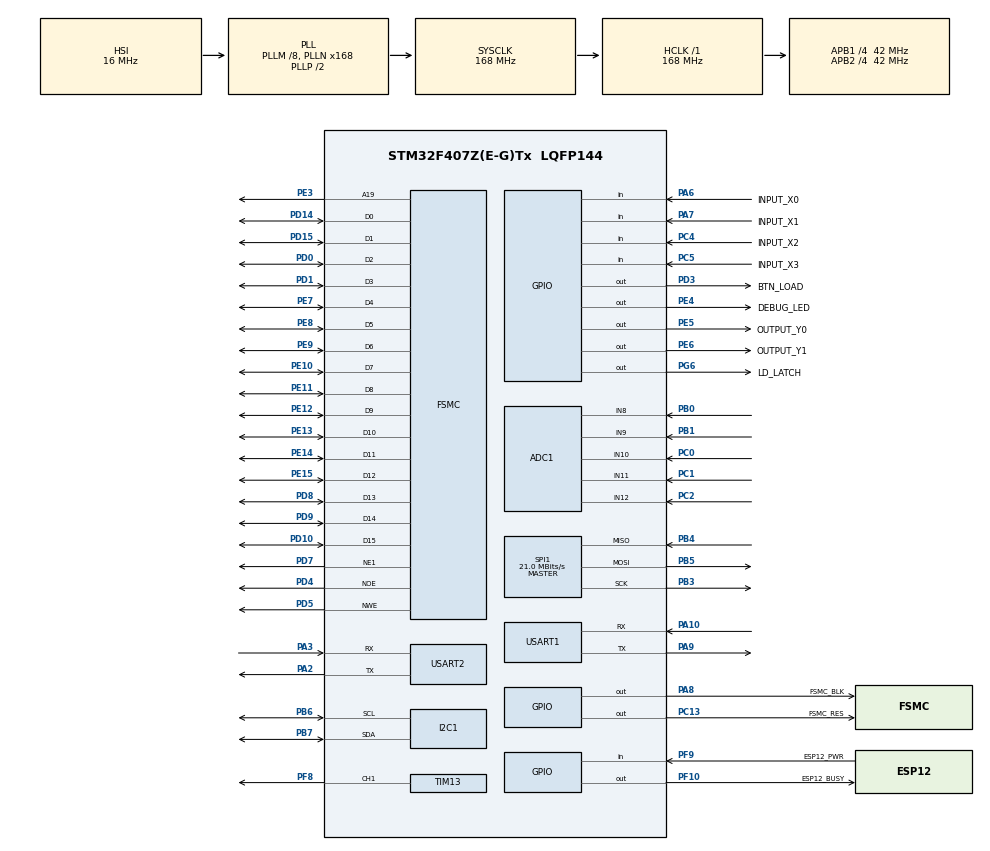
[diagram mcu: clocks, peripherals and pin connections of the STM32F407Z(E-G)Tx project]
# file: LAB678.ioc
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ADC1.Channel-0\#ChannelRegularConversion=ADC_CHANNEL_8
ADC1.Channel-1\#ChannelRegularConversion=ADC_CHANNEL_9
ADC1.Channel-2\#ChannelRegularConversion=ADC_CHANNEL_10
ADC1.Channel-3\#ChannelRegularConversion=ADC_CHANNEL_11
ADC1.Channel-4\#ChannelRegularConversion=ADC_CHANNEL_12
ADC1.NbrOfConversion=5
ADC1.NbrOfConversionFlag=1
ADC1.Rank-0\#ChannelRegularConversion=1
ADC1.Rank-1\#ChannelRegularConversion=2
ADC1.Rank-2\#ChannelRegularConversion=3
ADC1.Rank-3\#ChannelRegularConversion=4
ADC1.Rank-4\#ChannelRegularConversion=5
ADC1.SamplingTime-0\#ChannelRegularConversion=ADC_SAMPLETIME_3CYCLES
ADC1.SamplingTime-1\#ChannelRegularConversion=ADC_SAMPLETIME_3CYCLES
ADC1.SamplingTime-2\#ChannelRegularConversion=ADC_SAMPLETIME_3CYCLES
ADC1.SamplingTime-3\#ChannelRegularConversion=ADC_SAMPLETIME_3CYCLES
ADC1.SamplingTime-4\#ChannelRegularConversion=ADC_SAMPLETIME_3CYCLES
ADC1.ScanConvMode=ENABLE
ADC1.master=1
Dma.ADC1.0.Direction=DMA_PERIPH_TO_MEMORY
Dma.ADC1.0.FIFOMode=DMA_FIFOMODE_DISABLE
Dma.ADC1.0.Instance=DMA2_Stream0
Dma.ADC1.0.MemDataAlignment=DMA_MDATAALIGN_HALFWORD
Dma.ADC1.0.MemInc=DMA_MINC_ENABLE
Dma.ADC1.0.Mode=DMA_CIRCULAR
Dma.ADC1.0.PeriphDataAlignment=DMA_PDATAALIGN_HALFWORD
Dma.ADC1.0.PeriphInc=DMA_PINC_DISABLE
Dma.ADC1.0.Priority=DMA_PRIORITY_LOW
Dma.Request0=ADC1
FSMC.AddressSetupTime1=0xf
FSMC.BusTurnAroundDuration1=0
FSMC.DataSetupTime1=60
FSMC.ExtendedAddressSetupTime1=8
FSMC.ExtendedBusTurnAroundDuration1=0
FSMC.ExtendedDataSetupTime1=9
FSMC.ExtendedMode1=FSMC_EXTENDED_MODE_ENABLE
Mcu.Family=STM32F4
Mcu.Name=STM32F407Z(E-G)Tx
Mcu.Package=LQFP144
NVIC.DMA2_Stream0_IRQn=true\:0\:0\:false\:false\:true\:false\:true
NVIC.PriorityGroup=NVIC_PRIORITYGROUP_4
NVIC.TIM2_IRQn=true\:0\:0\:false\:false\:true\:true\:true
NVIC.USART1_IRQn=true\:0\:0\:false\:false\:true\:true\:true
NVIC.USART2_IRQn=true\:0\:0\:false\:false\:true\:true\:true
PA10.Mode=Asynchronous
PA10.Signal=USART1_RX
PA13.Mode=Serial_Wire
PA13.Signal=SYS_JTMS-SWDIO
PA14.Mode=Serial_Wire
PA14.Signal=SYS_JTCK-SWCLK
PA2.Mode=Asynchronous
PA2.Signal=USART2_TX
PA3.Mode=Asynchronous
PA3.Signal=USART2_RX
PA6.GPIO_Label=INPUT_X0
PA6.Signal=GPIO_Input
PA7.GPIO_Label=INPUT_X1
PA7.Signal=GPIO_Input
PA8.GPIO_Label=FSMC_BLK
PA8.Signal=GPIO_Output
PA9.Mode=Asynchronous
PA9.Signal=USART1_TX
PB0.Signal=ADCx_IN8
PB1.Signal=ADCx_IN9
PB3.Mode=Full_Duplex_Master
PB3.Signal=SPI1_SCK
PB4.Mode=Full_Duplex_Master
PB4.Signal=SPI1_MISO
PB5.Mode=Full_Duplex_Master
PB5.Signal=SPI1_MOSI
PB6.Mode=I2C
PB6.Signal=I2C1_SCL
PB7.Mode=I2C
PB7.Signal=I2C1_SDA
PC0.Signal=ADCx_IN10
PC1.Signal=ADCx_IN11
PC13-ANTI_TAMP.GPIO_Label=FSMC_RES
PC13-ANTI_TAMP.Signal=GPIO_Output
PC2.Signal=ADCx_IN12
PC4.GPIO_Label=INPUT_X2
PC4.Signal=GPIO_Input
PC5.GPIO_Label=INPUT_X3
PC5.Signal=GPIO_Input
PD0.Signal=FSMC_D2_DA2
PD1.Signal=FSMC_D3_DA3
PD10.Signal=FSMC_D15_DA15
PD14.Signal=FSMC_D0_DA0
PD15.Signal=FSMC_D1_DA1
PD3.GPIO_Label=BTN_LOAD
PD3.Signal=GPIO_Output
PD4.Signal=FSMC_NOE
PD5.Signal=FSMC_NWE
PD7.Mode=NorPsramChipSelect1_1
PD7.Signal=FSMC_NE1
PD8.Signal=FSMC_D13_DA13
PD9.Signal=FSMC_D14_DA14
PE10.Signal=FSMC_D7_DA7
PE11.Signal=FSMC_D8_DA8
PE12.Signal=FSMC_D9_DA9
PE13.Signal=FSMC_D10_DA10
PE14.Signal=FSMC_D11_DA11
PE15.Signal=FSMC_D12_DA12
PE3.Signal=FSMC_A19
PE4.GPIO_Label=DEBUG_LED
PE4.Signal=GPIO_Output
PE5.GPIO_Label=OUTPUT_Y0
PE5.Signal=GPIO_Output
PE6.GPIO_Label=OUTPUT_Y1
PE6.Signal=GPIO_Output
PE7.Signal=FSMC_D4_DA4
PE8.Signal=FSMC_D5_DA5
PE9.Signal=FSMC_D6_DA6
PF10.GPIO_Label=ESP12_BUSY
PF10.Signal=GPIO_Output
PF8.Signal=S_TIM13_CH1
PF9.GPIO_Label=ESP12_PWR
PF9.Signal=GPIO_Input
PG6.GPIO_Label=LD_LATCH
PG6.Signal=GPIO_Output
PH0-OSC_IN.Mode=HSE-External-Oscillator
PH0-OSC_IN.Signal=RCC_OSC_IN
PH1-OSC_OUT.Mode=HSE-External-Oscillator
PH1-OSC_OUT.Signal=RCC_OSC_OUT
ProjectManager.HeapSize=0x200
ProjectManager.StackSize=0x400
ProjectManager.TargetToolchain=STM32CubeIDE
RCC.48MHZClocksFreq_Value=84000000
RCC.AHBFreq_Value=168000000
RCC.APB1CLKDivider=RCC_HCLK_DIV4
RCC.APB1Freq_Value=42000000
RCC.APB1TimFreq_Value=84000000
RCC.APB2CLKDivider=RCC_HCLK_DIV4
RCC.APB2Freq_Value=42000000
RCC.APB2TimFreq_Value=84000000
RCC.CortexFreq_Value=168000000
RCC.HCLKFreq_Value=168000000
RCC.HSE_VALUE=8000000
RCC.HSI_VALUE=16000000
RCC.LSE_VALUE=32768
RCC.PLLM=8
RCC.PLLN=168
RCC.SYSCLKFreq_VALUE=168000000
RCC.SYSCLKSource=RCC_SYSCLKSOURCE_PLLCLK
RCC.VCOOutputFreq_Value=336000000
SH.ADCx_IN10.0=ADC1_IN10,IN10
SH.ADCx_IN11.0=ADC1_IN11,IN11
SH.ADCx_IN12.0=ADC1_IN12,IN12
SH.ADCx_IN8.0=ADC1_IN8,IN8
SH.ADCx_IN9.0=ADC1_IN9,IN9
SH.FSMC_A19.0=FSMC_A19,A19_1
SH.FSMC_D0_DA0.0=FSMC_D0,16b-d1
SH.FSMC_D10_DA10.0=FSMC_D10,16b-d1
SH.FSMC_D11_DA11.0=FSMC_D11,16b-d1
SH.FSMC_D12_DA12.0=FSMC_D12,16b-d1
SH.FSMC_D13_DA13.0=FSMC_D13,16b-d1
SH.FSMC_D14_DA14.0=FSMC_D14,16b-d1
SH.FSMC_D15_DA15.0=FSMC_D15,16b-d1
SH.FSMC_D1_DA1.0=FSMC_D1,16b-d1
SH.FSMC_D2_DA2.0=FSMC_D2,16b-d1
SH.FSMC_D3_DA3.0=FSMC_D3,16b-d1
SH.FSMC_D4_DA4.0=FSMC_D4,16b-d1
SH.FSMC_D5_DA5.0=FSMC_D5,16b-d1
SH.FSMC_D6_DA6.0=FSMC_D6,16b-d1
SH.FSMC_D7_DA7.0=FSMC_D7,16b-d1
SH.FSMC_D8_DA8.0=FSMC_D8,16b-d1
SH.FSMC_D9_DA9.0=FSMC_D9,16b-d1
SH.FSMC_NOE.0=FSMC_NOE,Lcd1
SH.FSMC_NWE.0=FSMC_NWE,Lcd1
SH.S_TIM13_CH1.0=TIM13_CH1,PWM Generation1 CH1
SPI1.CalculateBaudRate=21.0 MBits/s
SPI1.Direction=SPI_DIRECTION_2LINES
SPI1.Mode=SPI_MODE_MASTER
SPI1.VirtualType=VM_MASTER
TIM13.Channel=TIM_CHANNEL_1
TIM13.Period=100-1
TIM13.Prescaler=840-1
TIM2.Period=100-1
TIM2.Prescaler=840-1
USART1.VirtualMode=VM_ASYNC
USART2.VirtualMode=VM_ASYNC
VP_TIM13_VS_ClockSourceINT.Mode=Enable_Timer
VP_TIM2_VS_ClockSourceINT.Mode=Internal
board=custom

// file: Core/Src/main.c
/* USER CODE BEGIN Header */
/**
  ******************************************************************************
  * @file           : main.c
  * @brief          : Main program body
  ******************************************************************************
  * @attention
  *
  * <h2><center>&copy; Copyright (c) 2025 STMicroelectronics.
  * All rights reserved.</center></h2>
  *
  * This software component is licensed by ST under BSD 3-Clause license,
  * the "License"; You may not use this file except in compliance with the
  * License. You may obtain a copy of the License at:
  *                        opensource.org/licenses/BSD-3-Clause
  *
  ******************************************************************************
  */
/* USER CODE END Header */
#include "main.h"

/* USER CODE BEGIN Includes */
#include <stdlib.h>
#include "software_timer.h"
#include "led_7seg.h"
#include "button.h"
#include "lcd.h"
#include "picture.h"
#include "ds3231.h"
#include "uart.h"
#include "sensor.h"
#include "buzzer.h"
/* USER CODE END Includes */

/* USER CODE BEGIN PD */
#define INIT				0

#define MODE_DISPLAY_TIME 	2
#define MODE_SET_TIME 		3
#define MODE_SET_ALARM 		4
#define MODE_SET_UART		5

#define PARAM_HOUR 			10
#define PARAM_MIN 			11
#define PARAM_SEC 			12
#define PARAM_DATE 			13
#define PARAM_MONTH 		14
#define PARAM_YEAR 			15
#define PARAM_DAY 			16
/* USER CODE END PD */

ADC_HandleTypeDef hadc1;
DMA_HandleTypeDef hdma_adc1;

I2C_HandleTypeDef hi2c1;

SPI_HandleTypeDef hspi1;

TIM_HandleTypeDef htim2;
TIM_HandleTypeDef htim13;

UART_HandleTypeDef huart1;
UART_HandleTypeDef huart2;

SRAM_HandleTypeDef hsram1;

/* USER CODE BEGIN PV */
uint8_t count_led_debug = 0;

// FSM variables
uint8_t setting_param = PARAM_HOUR;
uint8_t blink_state = 0;
uint8_t blink_counter = 0;

// Temporary time values for setting
uint8_t temp_hour = 0;
uint8_t temp_min = 0;
uint8_t temp_sec = 0;
uint8_t temp_date = 0;
uint8_t temp_month = 0;
uint8_t temp_year = 0;
uint8_t temp_day = 0;

// Alarm values
uint8_t alarm_hour = 0;
uint8_t alarm_min = 0;
uint8_t alarm_sec = 0;
uint8_t alarm_triggered = 0;

// Button press duration tracking
uint16_t button_up_duration = 0;
uint16_t auto_increment_counter = 0;
// Request duration tracking
uint16_t request_duration = 0;
uint16_t request_counter = 0;
uint8_t request_flag = 0;
/* USER CODE END PV */

void SystemClock_Config(void);
static void MX_GPIO_Init(void);
static void MX_SPI1_Init(void);
static void MX_TIM2_Init(void);
static void MX_FSMC_Init(void);
static void MX_I2C1_Init(void);
static void MX_USART1_UART_Init(void);
static void MX_DMA_Init(void);
static void MX_ADC1_Init(void);
static void MX_USART2_UART_Init(void);
static void MX_TIM13_Init(void);
/* USER CODE BEGIN PFP */
void system_init();
void test_LedDebug();
void displayTime();
void updateTime();
void displayModeIndicator();
void displayAlarmTime();
void checkAlarm();
void displayTime();
void fsm_clock();
void test_Uart();
void handle_Uart();
void set_time_Uart();
/* USER CODE END PFP */

int main(void)
{

  /* MCU Configuration--------------------------------------------------------*/

  /* Reset of all peripherals, Initializes the Flash interface and the Systick. */
  HAL_Init();

  /* Configure the system clock */
  SystemClock_Config();

  /* Initialize all configured peripherals */
  MX_GPIO_Init();
  MX_SPI1_Init();
  MX_TIM2_Init();
  MX_FSMC_Init();
  MX_I2C1_Init();
  MX_USART1_UART_Init();
  MX_DMA_Init();
  MX_ADC1_Init();
  MX_USART2_UART_Init();
  MX_TIM13_Init();
  /* USER CODE BEGIN 2 */
  system_init();
  /* USER CODE END 2 */

  /* Infinite loop */
  /* USER CODE BEGIN WHILE */
  lcd_Clear(BLACK);
  updateTime();
  while (1)
  {
	  while(!flag_timer2);
	  flag_timer2 = 0;
	  button_Scan();
	  ds3231_ReadTime();
	  test_Esp();
	  lightProcess();
	  test_LedDebug();
//	  displayTime();
//	  test_Uart();
//	  handle_Uart();
//	  fsm_clock();
	  tempProcess();
    /* USER CODE END WHILE */

  }
}

void SystemClock_Config(void)
{
  RCC_OscInitTypeDef RCC_OscInitStruct = {0};
  RCC_ClkInitTypeDef RCC_ClkInitStruct = {0};

  /** Configure the main internal regulator output voltage
  */
  __HAL_RCC_PWR_CLK_ENABLE();
  __HAL_PWR_VOLTAGESCALING_CONFIG(PWR_REGULATOR_VOLTAGE_SCALE1);
  /** Initializes the RCC Oscillators according to the specified parameters
  * in the RCC_OscInitTypeDef structure.
  */
  RCC_OscInitStruct.OscillatorType = RCC_OSCILLATORTYPE_HSI;
  RCC_OscInitStruct.HSIState = RCC_HSI_ON;
  RCC_OscInitStruct.HSICalibrationValue = RCC_HSICALIBRATION_DEFAULT;
  RCC_OscInitStruct.PLL.PLLState = RCC_PLL_ON;
  RCC_OscInitStruct.PLL.PLLSource = RCC_PLLSOURCE_HSI;
  RCC_OscInitStruct.PLL.PLLM = 8;
  RCC_OscInitStruct.PLL.PLLN = 168;
  RCC_OscInitStruct.PLL.PLLP = RCC_PLLP_DIV2;
  RCC_OscInitStruct.PLL.PLLQ = 4;
  if (HAL_RCC_OscConfig(&RCC_OscInitStruct) != HAL_OK)
  {
    Error_Handler();
  }
  /** Initializes the CPU, AHB and APB buses clocks
  */
  RCC_ClkInitStruct.ClockType = RCC_CLOCKTYPE_HCLK|RCC_CLOCKTYPE_SYSCLK
                              |RCC_CLOCKTYPE_PCLK1|RCC_CLOCKTYPE_PCLK2;
  RCC_ClkInitStruct.SYSCLKSource = RCC_SYSCLKSOURCE_PLLCLK;
  RCC_ClkInitStruct.AHBCLKDivider = RCC_SYSCLK_DIV1;
  RCC_ClkInitStruct.APB1CLKDivider = RCC_HCLK_DIV4;
  RCC_ClkInitStruct.APB2CLKDivider = RCC_HCLK_DIV4;

  if (HAL_RCC_ClockConfig(&RCC_ClkInitStruct, FLASH_LATENCY_5) != HAL_OK)
  {
    Error_Handler();
  }
}

static void MX_ADC1_Init(void)
{

  ADC_ChannelConfTypeDef sConfig = {0};

  /** Configure the global features of the ADC (Clock, Resolution, Data Alignment and number of conversion)
  */
  hadc1.Instance = ADC1;
  hadc1.Init.ClockPrescaler = ADC_CLOCK_SYNC_PCLK_DIV2;
  hadc1.Init.Resolution = ADC_RESOLUTION_12B;
  hadc1.Init.ScanConvMode = ENABLE;
  hadc1.Init.ContinuousConvMode = DISABLE;
  hadc1.Init.DiscontinuousConvMode = DISABLE;
  hadc1.Init.ExternalTrigConvEdge = ADC_EXTERNALTRIGCONVEDGE_NONE;
  hadc1.Init.ExternalTrigConv = ADC_SOFTWARE_START;
  hadc1.Init.DataAlign = ADC_DATAALIGN_RIGHT;
  hadc1.Init.NbrOfConversion = 5;
  hadc1.Init.DMAContinuousRequests = DISABLE;
  hadc1.Init.EOCSelection = ADC_EOC_SINGLE_CONV;
  if (HAL_ADC_Init(&hadc1) != HAL_OK)
  {
    Error_Handler();
  }
  /** Configure for the selected ADC regular channel its corresponding rank in the sequencer and its sample time.
  */
  sConfig.Channel = ADC_CHANNEL_8;
  sConfig.Rank = 1;
  sConfig.SamplingTime = ADC_SAMPLETIME_3CYCLES;
  if (HAL_ADC_ConfigChannel(&hadc1, &sConfig) != HAL_OK)
  {
    Error_Handler();
  }
  /** Configure for the selected ADC regular channel its corresponding rank in the sequencer and its sample time.
  */
  sConfig.Channel = ADC_CHANNEL_9;
  sConfig.Rank = 2;
  if (HAL_ADC_ConfigChannel(&hadc1, &sConfig) != HAL_OK)
  {
    Error_Handler();
  }
  /** Configure for the selected ADC regular channel its corresponding rank in the sequencer and its sample time.
  */
  sConfig.Channel = ADC_CHANNEL_10;
  sConfig.Rank = 3;
  if (HAL_ADC_ConfigChannel(&hadc1, &sConfig) != HAL_OK)
  {
    Error_Handler();
  }
  /** Configure for the selected ADC regular channel its corresponding rank in the sequencer and its sample time.
  */
  sConfig.Channel = ADC_CHANNEL_11;
  sConfig.Rank = 4;
  if (HAL_ADC_ConfigChannel(&hadc1, &sConfig) != HAL_OK)
  {
    Error_Handler();
  }
  /** Configure for the selected ADC regular channel its corresponding rank in the sequencer and its sample time.
  */
  sConfig.Channel = ADC_CHANNEL_12;
  sConfig.Rank = 5;
  if (HAL_ADC_ConfigChannel(&hadc1, &sConfig) != HAL_OK)
  {
    Error_Handler();
  }

}

static void MX_I2C1_Init(void)
{

  hi2c1.Instance = I2C1;
  hi2c1.Init.ClockSpeed = 100000;
  hi2c1.Init.DutyCycle = I2C_DUTYCYCLE_2;
  hi2c1.Init.OwnAddress1 = 0;
  hi2c1.Init.AddressingMode = I2C_ADDRESSINGMODE_7BIT;
  hi2c1.Init.DualAddressMode = I2C_DUALADDRESS_DISABLE;
  hi2c1.Init.OwnAddress2 = 0;
  hi2c1.Init.GeneralCallMode = I2C_GENERALCALL_DISABLE;
  hi2c1.Init.NoStretchMode = I2C_NOSTRETCH_DISABLE;
  if (HAL_I2C_Init(&hi2c1) != HAL_OK)
  {
    Error_Handler();
  }

}

static void MX_SPI1_Init(void)
{

  /* SPI1 parameter configuration*/
  hspi1.Instance = SPI1;
  hspi1.Init.Mode = SPI_MODE_MASTER;
  hspi1.Init.Direction = SPI_DIRECTION_2LINES;
  hspi1.Init.DataSize = SPI_DATASIZE_8BIT;
  hspi1.Init.CLKPolarity = SPI_POLARITY_LOW;
  hspi1.Init.CLKPhase = SPI_PHASE_1EDGE;
  hspi1.Init.NSS = SPI_NSS_SOFT;
  hspi1.Init.BaudRatePrescaler = SPI_BAUDRATEPRESCALER_2;
  hspi1.Init.FirstBit = SPI_FIRSTBIT_MSB;
  hspi1.Init.TIMode = SPI_TIMODE_DISABLE;
  hspi1.Init.CRCCalculation = SPI_CRCCALCULATION_DISABLE;
  hspi1.Init.CRCPolynomial = 10;
  if (HAL_SPI_Init(&hspi1) != HAL_OK)
  {
    Error_Handler();
  }

}

static void MX_TIM2_Init(void)
{

  TIM_ClockConfigTypeDef sClockSourceConfig = {0};
  TIM_MasterConfigTypeDef sMasterConfig = {0};

  htim2.Instance = TIM2;
  htim2.Init.Prescaler = 840-1;
  htim2.Init.CounterMode = TIM_COUNTERMODE_UP;
  htim2.Init.Period = 100-1;
  htim2.Init.ClockDivision = TIM_CLOCKDIVISION_DIV1;
  htim2.Init.AutoReloadPreload = TIM_AUTORELOAD_PRELOAD_DISABLE;
  if (HAL_TIM_Base_Init(&htim2) != HAL_OK)
  {
    Error_Handler();
  }
  sClockSourceConfig.ClockSource = TIM_CLOCKSOURCE_INTERNAL;
  if (HAL_TIM_ConfigClockSource(&htim2, &sClockSourceConfig) != HAL_OK)
  {
    Error_Handler();
  }
  sMasterConfig.MasterOutputTrigger = TIM_TRGO_RESET;
  sMasterConfig.MasterSlaveMode = TIM_MASTERSLAVEMODE_DISABLE;
  if (HAL_TIMEx_MasterConfigSynchronization(&htim2, &sMasterConfig) != HAL_OK)
  {
    Error_Handler();
  }

}

static void MX_TIM13_Init(void)
{

  TIM_OC_InitTypeDef sConfigOC = {0};

  htim13.Instance = TIM13;
  htim13.Init.Prescaler = 840-1;
  htim13.Init.CounterMode = TIM_COUNTERMODE_UP;
  htim13.Init.Period = 100-1;
  htim13.Init.ClockDivision = TIM_CLOCKDIVISION_DIV1;
  htim13.Init.AutoReloadPreload = TIM_AUTORELOAD_PRELOAD_DISABLE;
  if (HAL_TIM_Base_Init(&htim13) != HAL_OK)
  {
    Error_Handler();
  }
  if (HAL_TIM_PWM_Init(&htim13) != HAL_OK)
  {
    Error_Handler();
  }
  sConfigOC.OCMode = TIM_OCMODE_PWM1;
  sConfigOC.Pulse = 0;
  sConfigOC.OCPolarity = TIM_OCPOLARITY_HIGH;
  sConfigOC.OCFastMode = TIM_OCFAST_DISABLE;
  if (HAL_TIM_PWM_ConfigChannel(&htim13, &sConfigOC, TIM_CHANNEL_1) != HAL_OK)
  {
    Error_Handler();
  }
  HAL_TIM_MspPostInit(&htim13);

}

static void MX_USART1_UART_Init(void)
{

  huart1.Instance = USART1;
  huart1.Init.BaudRate = 115200;
  huart1.Init.WordLength = UART_WORDLENGTH_8B;
  huart1.Init.StopBits = UART_STOPBITS_1;
  huart1.Init.Parity = UART_PARITY_NONE;
  huart1.Init.Mode = UART_MODE_TX_RX;
  huart1.Init.HwFlowCtl = UART_HWCONTROL_NONE;
  huart1.Init.OverSampling = UART_OVERSAMPLING_16;
  if (HAL_UART_Init(&huart1) != HAL_OK)
  {
    Error_Handler();
  }

}

static void MX_USART2_UART_Init(void)
{

  huart2.Instance = USART2;
  huart2.Init.BaudRate = 115200;
  huart2.Init.WordLength = UART_WORDLENGTH_8B;
  huart2.Init.StopBits = UART_STOPBITS_1;
  huart2.Init.Parity = UART_PARITY_NONE;
  huart2.Init.Mode = UART_MODE_TX_RX;
  huart2.Init.HwFlowCtl = UART_HWCONTROL_NONE;
  huart2.Init.OverSampling = UART_OVERSAMPLING_16;
  if (HAL_UART_Init(&huart2) != HAL_OK)
  {
    Error_Handler();
  }

}

static void MX_DMA_Init(void)
{

  /* DMA controller clock enable */
  __HAL_RCC_DMA2_CLK_ENABLE();

  /* DMA interrupt init */
  /* DMA2_Stream0_IRQn interrupt configuration */
  HAL_NVIC_SetPriority(DMA2_Stream0_IRQn, 0, 0);
  HAL_NVIC_EnableIRQ(DMA2_Stream0_IRQn);

}

static void MX_GPIO_Init(void)
{
  GPIO_InitTypeDef GPIO_InitStruct = {0};

  /* GPIO Ports Clock Enable */
  __HAL_RCC_GPIOE_CLK_ENABLE();
  __HAL_RCC_GPIOC_CLK_ENABLE();
  __HAL_RCC_GPIOF_CLK_ENABLE();
  __HAL_RCC_GPIOH_CLK_ENABLE();
  __HAL_RCC_GPIOA_CLK_ENABLE();
  __HAL_RCC_GPIOB_CLK_ENABLE();
  __HAL_RCC_GPIOD_CLK_ENABLE();
  __HAL_RCC_GPIOG_CLK_ENABLE();

  /*Configure GPIO pin Output Level */
  HAL_GPIO_WritePin(GPIOE, DEBUG_LED_Pin|OUTPUT_Y0_Pin|OUTPUT_Y1_Pin, GPIO_PIN_RESET);

  /*Configure GPIO pin Output Level */
  HAL_GPIO_WritePin(FSMC_RES_GPIO_Port, FSMC_RES_Pin, GPIO_PIN_RESET);

  /*Configure GPIO pin Output Level */
  HAL_GPIO_WritePin(ESP12_BUSY_GPIO_Port, ESP12_BUSY_Pin, GPIO_PIN_RESET);

  /*Configure GPIO pin Output Level */
  HAL_GPIO_WritePin(LD_LATCH_GPIO_Port, LD_LATCH_Pin, GPIO_PIN_RESET);

  /*Configure GPIO pin Output Level */
  HAL_GPIO_WritePin(FSMC_BLK_GPIO_Port, FSMC_BLK_Pin, GPIO_PIN_RESET);

  /*Configure GPIO pin Output Level */
  HAL_GPIO_WritePin(BTN_LOAD_GPIO_Port, BTN_LOAD_Pin, GPIO_PIN_RESET);

  /*Configure GPIO pins : DEBUG_LED_Pin OUTPUT_Y0_Pin OUTPUT_Y1_Pin */
  GPIO_InitStruct.Pin = DEBUG_LED_Pin|OUTPUT_Y0_Pin|OUTPUT_Y1_Pin;
  GPIO_InitStruct.Mode = GPIO_MODE_OUTPUT_PP;
  GPIO_InitStruct.Pull = GPIO_NOPULL;
  GPIO_InitStruct.Speed = GPIO_SPEED_FREQ_LOW;
  HAL_GPIO_Init(GPIOE, &GPIO_InitStruct);

  /*Configure GPIO pin : FSMC_RES_Pin */
  GPIO_InitStruct.Pin = FSMC_RES_Pin;
  GPIO_InitStruct.Mode = GPIO_MODE_OUTPUT_PP;
  GPIO_InitStruct.Pull = GPIO_NOPULL;
  GPIO_InitStruct.Speed = GPIO_SPEED_FREQ_LOW;
  HAL_GPIO_Init(FSMC_RES_GPIO_Port, &GPIO_InitStruct);

  /*Configure GPIO pin : ESP12_PWR_Pin */
  GPIO_InitStruct.Pin = ESP12_PWR_Pin;
  GPIO_InitStruct.Mode = GPIO_MODE_INPUT;
  GPIO_InitStruct.Pull = GPIO_NOPULL;
  HAL_GPIO_Init(ESP12_PWR_GPIO_Port, &GPIO_InitStruct);

  /*Configure GPIO pin : ESP12_BUSY_Pin */
  GPIO_InitStruct.Pin = ESP12_BUSY_Pin;
  GPIO_InitStruct.Mode = GPIO_MODE_OUTPUT_PP;
  GPIO_InitStruct.Pull = GPIO_NOPULL;
  GPIO_InitStruct.Speed = GPIO_SPEED_FREQ_LOW;
  HAL_GPIO_Init(ESP12_BUSY_GPIO_Port, &GPIO_InitStruct);

  /*Configure GPIO pins : INPUT_X0_Pin INPUT_X1_Pin */
  GPIO_InitStruct.Pin = INPUT_X0_Pin|INPUT_X1_Pin;
  GPIO_InitStruct.Mode = GPIO_MODE_INPUT;
  GPIO_InitStruct.Pull = GPIO_NOPULL;
  HAL_GPIO_Init(GPIOA, &GPIO_InitStruct);

  /*Configure GPIO pins : INPUT_X2_Pin INPUT_X3_Pin */
  GPIO_InitStruct.Pin = INPUT_X2_Pin|INPUT_X3_Pin;
  GPIO_InitStruct.Mode = GPIO_MODE_INPUT;
  GPIO_InitStruct.Pull = GPIO_NOPULL;
  HAL_GPIO_Init(GPIOC, &GPIO_InitStruct);

  /*Configure GPIO pin : LD_LATCH_Pin */
  GPIO_InitStruct.Pin = LD_LATCH_Pin;
  GPIO_InitStruct.Mode = GPIO_MODE_OUTPUT_PP;
  GPIO_InitStruct.Pull = GPIO_NOPULL;
  GPIO_InitStruct.Speed = GPIO_SPEED_FREQ_LOW;
  HAL_GPIO_Init(LD_LATCH_GPIO_Port, &GPIO_InitStruct);

  /*Configure GPIO pin : FSMC_BLK_Pin */
  GPIO_InitStruct.Pin = FSMC_BLK_Pin;
  GPIO_InitStruct.Mode = GPIO_MODE_OUTPUT_PP;
  GPIO_InitStruct.Pull = GPIO_NOPULL;
  GPIO_InitStruct.Speed = GPIO_SPEED_FREQ_LOW;
  HAL_GPIO_Init(FSMC_BLK_GPIO_Port, &GPIO_InitStruct);

  /*Configure GPIO pin : BTN_LOAD_Pin */
  GPIO_InitStruct.Pin = BTN_LOAD_Pin;
  GPIO_InitStruct.Mode = GPIO_MODE_OUTPUT_PP;
  GPIO_InitStruct.Pull = GPIO_NOPULL;
  GPIO_InitStruct.Speed = GPIO_SPEED_FREQ_LOW;
  HAL_GPIO_Init(BTN_LOAD_GPIO_Port, &GPIO_InitStruct);

}

/* FSMC initialization function */
static void MX_FSMC_Init(void)
{

  FSMC_NORSRAM_TimingTypeDef Timing = {0};
  FSMC_NORSRAM_TimingTypeDef ExtTiming = {0};

  /** Perform the SRAM1 memory initialization sequence
  */
  hsram1.Instance = FSMC_NORSRAM_DEVICE;
  hsram1.Extended = FSMC_NORSRAM_EXTENDED_DEVICE;
  /* hsram1.Init */
  hsram1.Init.NSBank = FSMC_NORSRAM_BANK1;
  hsram1.Init.DataAddressMux = FSMC_DATA_ADDRESS_MUX_DISABLE;
  hsram1.Init.MemoryType = FSMC_MEMORY_TYPE_SRAM;
  hsram1.Init.MemoryDataWidth = FSMC_NORSRAM_MEM_BUS_WIDTH_16;
  hsram1.Init.BurstAccessMode = FSMC_BURST_ACCESS_MODE_DISABLE;
  hsram1.Init.WaitSignalPolarity = FSMC_WAIT_SIGNAL_POLARITY_LOW;
  hsram1.Init.WrapMode = FSMC_WRAP_MODE_DISABLE;
  hsram1.Init.WaitSignalActive = FSMC_WAIT_TIMING_BEFORE_WS;
  hsram1.Init.WriteOperation = FSMC_WRITE_OPERATION_ENABLE;
  hsram1.Init.WaitSignal = FSMC_WAIT_SIGNAL_DISABLE;
  hsram1.Init.ExtendedMode = FSMC_EXTENDED_MODE_ENABLE;
  hsram1.Init.AsynchronousWait = FSMC_ASYNCHRONOUS_WAIT_DISABLE;
  hsram1.Init.WriteBurst = FSMC_WRITE_BURST_DISABLE;
  hsram1.Init.PageSize = FSMC_PAGE_SIZE_NONE;
  /* Timing */
  Timing.AddressSetupTime = 0xf;
  Timing.AddressHoldTime = 15;
  Timing.DataSetupTime = 60;
  Timing.BusTurnAroundDuration = 0;
  Timing.CLKDivision = 16;
  Timing.DataLatency = 17;
  Timing.AccessMode = FSMC_ACCESS_MODE_A;
  /* ExtTiming */
  ExtTiming.AddressSetupTime = 8;
  ExtTiming.AddressHoldTime = 15;
  ExtTiming.DataSetupTime = 9;
  ExtTiming.BusTurnAroundDuration = 0;
  ExtTiming.CLKDivision = 16;
  ExtTiming.DataLatency = 17;
  ExtTiming.AccessMode = FSMC_ACCESS_MODE_A;

  if (HAL_SRAM_Init(&hsram1, &Timing, &ExtTiming) != HAL_OK)
  {
    Error_Handler( );
  }

}

/* USER CODE BEGIN 4 */
void system_init(){
	  HAL_GPIO_WritePin(OUTPUT_Y0_GPIO_Port, OUTPUT_Y0_Pin, 0);
	  HAL_GPIO_WritePin(OUTPUT_Y1_GPIO_Port, OUTPUT_Y1_Pin, 0);
	  HAL_GPIO_WritePin(DEBUG_LED_GPIO_Port, DEBUG_LED_Pin, 0);
	  timer_init();
	  led7_init();
	  button_init();
	  lcd_init();
	  ds3231_init();
	  uart_init_rs232();
	  uart_init_esp();
	  setTimer2(50);
}

void test_LedDebug(){
	count_led_debug = (count_led_debug + 1)%20;
	if(count_led_debug == 0){
		HAL_GPIO_TogglePin(DEBUG_LED_GPIO_Port, DEBUG_LED_Pin);
	}
}

void test_7seg(){
	led7_SetDigit(0, 0, 0);
	led7_SetDigit(5, 1, 0);
	led7_SetDigit(4, 2, 0);
	led7_SetDigit(7, 3, 0);
}
void test_button(){
	for(int i = 0; i < 16; i++){
		if(button_count[i] == 1){
			led7_SetDigit(i/10, 2, 0);
			led7_SetDigit(i%10, 3, 0);
		}
	}
}

void updateTime(){
	ds3231_Write(ADDRESS_YEAR, 25);
	ds3231_Write(ADDRESS_MONTH, 11);
	ds3231_Write(ADDRESS_DATE, 03);
	ds3231_Write(ADDRESS_DAY, 2);
	ds3231_Write(ADDRESS_HOUR, 17);
	ds3231_Write(ADDRESS_MIN, 45);
	ds3231_Write(ADDRESS_SEC, 30);
}

uint8_t isButtonUp()
{
    if (button_count[3] == 1)
        return 1;
    else
        return 0;
}
uint8_t isButtonDown()
{
    if (button_count[7] == 1)
        return 1;
    else
        return 0;
}

uint8_t state = INIT;
char *mode_str = "";
void displayModeIndicator() {
    lcd_Fill(0, 0, 240, 20, BLACK);
    switch(state) {
        case MODE_DISPLAY_TIME:
            lcd_ShowStr(10, 5, "MODE: DISPLAY TIME", WHITE, BLACK, 16, 0);
            break;
        case MODE_SET_TIME:
            lcd_ShowStr(10, 5, "MODE: SET TIME", CYAN, BLACK, 16, 0);
            break;
        case MODE_SET_ALARM:
            lcd_ShowStr(10, 5, "MODE: SET ALARM", MAGENTA, BLACK, 16, 0);
            break;
        case MODE_SET_UART:
            lcd_ShowStr(10, 5, mode_str, MAGENTA, BLACK, 16, 0);
            break;
    }
}

void checkAlarm() {
    if(alarm_hour == ds3231_hours && alarm_min == ds3231_min && alarm_sec == ds3231_sec)
        if(!alarm_triggered)
            alarm_triggered = 1;

    if(alarm_triggered) {
        lcd_Fill(0, 180, 240, 220, RED);
        lcd_ShowStr(40, 190, "*** ALARM ***", WHITE, RED, 24, 0);

        for(int i = 0; i < 16; i++) {
            if(button_count[i] == 1) {
                alarm_triggered = 0;
                lcd_Fill(0, 180, 240, 220, BLACK);
                break;
            }
        }
    }
}

void displayAlarmTime() {
    lcd_ShowStr(10, 260, "ALARM:", YELLOW, BLACK, 16, 0);
    lcd_ShowIntNum(70, 260, alarm_hour, 2, YELLOW, BLACK, 16);
    lcd_ShowIntNum(100, 260, alarm_min, 2, YELLOW, BLACK, 16);
    lcd_ShowIntNum(130, 260, alarm_sec, 2, YELLOW, BLACK, 16);
}

void displayTime(){
	blink_counter++;
	if(blink_counter >= 10) {
		blink_counter = 0;
		blink_state = !blink_state;
	}

	uint16_t hour_color = GREEN, min_color = GREEN, sec_color = GREEN;
	uint16_t date_color = YELLOW, month_color = YELLOW, year_color = YELLOW, day_color = YELLOW;

	if((state == MODE_SET_TIME || state == MODE_SET_ALARM || state == MODE_SET_UART) && blink_state) {
		switch(setting_param) {
			case PARAM_HOUR: hour_color = BLACK; break;
			case PARAM_MIN: min_color = BLACK; break;
			case PARAM_SEC: sec_color = BLACK; break;
			case PARAM_DATE: date_color = BLACK; break;
			case PARAM_MONTH: month_color = BLACK; break;
			case PARAM_YEAR: year_color = BLACK; break;
			case PARAM_DAY: day_color = BLACK; break;
		}
	}

	// Display based on mode
	if(state == MODE_SET_TIME || state == MODE_SET_UART) {
		lcd_ShowIntNum(70, 100, temp_hour, 2, hour_color, BLACK, 24);
		lcd_ShowIntNum(110, 100, temp_min, 2, min_color, BLACK, 24);
		lcd_ShowIntNum(150, 100, temp_sec, 2, sec_color, BLACK, 24);

		lcd_ShowIntNum(20, 130, temp_day, 2, day_color, BLACK, 24);
		lcd_ShowIntNum(70, 130, temp_date, 2, date_color, BLACK, 24);
		lcd_ShowIntNum(110, 130, temp_month, 2, month_color, BLACK, 24);
		lcd_ShowIntNum(150, 130, temp_year, 2, year_color, BLACK, 24);
	} else if(state == MODE_SET_ALARM) {
		lcd_ShowStr(10, 100, "SET ALARM:", MAGENTA, BLACK, 24, 0);
		lcd_ShowIntNum(70, 130, alarm_hour, 2, hour_color, BLACK, 24);
		lcd_ShowIntNum(110, 130, alarm_min, 2, min_color, BLACK, 24);
		lcd_ShowIntNum(150, 130, alarm_sec, 2, sec_color, BLACK, 24);
	} else {
		lcd_ShowIntNum(70, 100, ds3231_hours, 2, hour_color, BLACK, 24);
		lcd_ShowIntNum(110, 100, ds3231_min, 2, min_color, BLACK, 24);
		lcd_ShowIntNum(150, 100, ds3231_sec, 2, sec_color, BLACK, 24);

		lcd_ShowIntNum(20, 130, ds3231_day, 2, day_color, BLACK, 24);
		lcd_ShowIntNum(70, 130, ds3231_date, 2, date_color, BLACK, 24);
		lcd_ShowIntNum(110, 130, ds3231_month, 2, month_color, BLACK, 24);
		lcd_ShowIntNum(150, 130, ds3231_year, 2, year_color, BLACK, 24);

		displayAlarmTime();
		checkAlarm();
	}
}

//void incrementParameter() {
//	switch(setting_param) {
//		case PARAM_HOUR:
//			if(state == MODE_SET_TIME) temp_hour = (temp_hour + 1) % 24;
//			else alarm_hour = (alarm_hour + 1) % 24;
//			break;
//		case PARAM_MIN:
//			if(state == MODE_SET_TIME) temp_min = (temp_min + 1) % 60;
//			else alarm_min = (alarm_min + 1) % 60;
//			break;
//		case PARAM_SEC:
//			if(state == MODE_SET_TIME) temp_sec = (temp_sec + 1) % 60;
//			else alarm_sec = (alarm_sec + 1) % 60;
//			break;
//		case PARAM_DATE:
//			temp_date = (temp_date % 31) + 1;
//			break;
//		case PARAM_MONTH:
//			temp_month = (temp_month % 12) + 1;
//			break;
//		case PARAM_YEAR:
//			temp_year = (temp_year + 1) % 100;
//			break;
//		case PARAM_DAY:
//			temp_day = (temp_day % 7) + 1;
//			break;
//	}
//}

void handleIncrementButton() {
	if(button_count[3] >= 1) {
		button_up_duration++;
		if(button_count[3] == 1) {	// Single press - increment once
			switch(setting_param) {
				case PARAM_HOUR:
					if(state == MODE_SET_TIME) temp_hour = (temp_hour + 1) % 24;
					else alarm_hour = (alarm_hour + 1) % 24;
					break;
				case PARAM_MIN:
					if(state == MODE_SET_TIME) temp_min = (temp_min + 1) % 60;
					else alarm_min = (alarm_min + 1) % 60;
					break;
				case PARAM_SEC:
					if(state == MODE_SET_TIME) temp_sec = (temp_sec + 1) % 60;
					else alarm_sec = (alarm_sec + 1) % 60;
					break;
				case PARAM_DATE:
					temp_date = (temp_date % 31) + 1;
					break;
				case PARAM_MONTH:
					temp_month = (temp_month % 12) + 1;
					break;
				case PARAM_YEAR:
					temp_year = (temp_year + 1) % 100;
					break;
				case PARAM_DAY:
					temp_day = (temp_day % 7) + 1;
					break;
			}
		}
		else if(button_up_duration >= 40) { // Held for 2 seconds (40 cycles * 50ms)
			auto_increment_counter++;
			if(auto_increment_counter >= 4) { // Auto increment every 200ms (4 cycles)
				auto_increment_counter = 0;
				switch(setting_param) {
					case PARAM_HOUR:
						if(state == MODE_SET_TIME) temp_hour = (temp_hour + 1) % 24;
						else alarm_hour = (alarm_hour + 1) % 24;
						break;
					case PARAM_MIN:
						if(state == MODE_SET_TIME) temp_min = (temp_min + 1) % 60;
						else alarm_min = (alarm_min + 1) % 60;
						break;
					case PARAM_SEC:
						if(state == MODE_SET_TIME) temp_sec = (temp_sec + 1) % 60;
						else alarm_sec = (alarm_sec + 1) % 60;
						break;
					case PARAM_DATE:
						temp_date = (temp_date % 31) + 1;
						break;
					case PARAM_MONTH:
						temp_month = (temp_month % 12) + 1;
						break;
					case PARAM_YEAR:
						temp_year = (temp_year + 1) % 100;
						break;
					case PARAM_DAY:
						temp_day = (temp_day % 7) + 1;
						break;
				}
			}
		}
	} else {
		button_up_duration = 0;
		auto_increment_counter = 0;
	}
}
void handleResendRequest() {
	request_duration ++;
	if(request_duration >= 100){ // wait for 5 seconds (100 cycles * 50ms)
		request_counter ++;
		request_duration = 0;
		request_flag = 1;
	}
	if(request_counter > 3){
		request_counter = 0;
		request_duration = 0;
		request_flag = 0;
		state = MODE_DISPLAY_TIME;
		setting_param = PARAM_HOUR;
		lcd_Clear(BLACK);
		uart_Rs232SendString("Finish setting !");
	}
}
void fsm_clock() {
	static uint8_t last_state = 0xFF;

	switch (state) {
	case INIT:
		lcd_Clear(BLACK);
		displayModeIndicator();
		state = MODE_DISPLAY_TIME;
		break;
	case MODE_DISPLAY_TIME:
		if(isButtonDown()) {
			state = MODE_SET_TIME;
			setting_param = PARAM_HOUR;
			lcd_Clear(BLACK);

			temp_hour = ds3231_hours;
			temp_min = ds3231_min;
			temp_sec = ds3231_sec;
			temp_date = ds3231_date;
			temp_month = ds3231_month;
			temp_year = ds3231_year;
			temp_day = ds3231_day;
			last_state = 0xFF;
		}

		if(last_state != state) {
			displayModeIndicator();
			last_state = state;
		}

		displayTime();
		break;
	case MODE_SET_TIME:
		if(isButtonDown()) {
			state = MODE_SET_ALARM;
			setting_param = PARAM_HOUR;
			lcd_Clear(BLACK);
			last_state = 0xFF;
		}

		if(last_state != state) {
			displayModeIndicator();
			last_state = state;
		}

		handleIncrementButton();

		if(button_count[12] == 1) {
			setting_param++;

			if(setting_param > PARAM_DAY) {
				ds3231_Write(ADDRESS_HOUR, temp_hour);
				ds3231_Write(ADDRESS_MIN, temp_min);
				ds3231_Write(ADDRESS_SEC, temp_sec);
				ds3231_Write(ADDRESS_DATE, temp_date);
				ds3231_Write(ADDRESS_MONTH, temp_month);
				ds3231_Write(ADDRESS_YEAR, temp_year);
				ds3231_Write(ADDRESS_DAY, temp_day);

				state = MODE_DISPLAY_TIME;
				setting_param = PARAM_HOUR;
				lcd_Clear(BLACK);
				last_state = 0xFF;
			}
		}

		displayTime();
		break;

	case MODE_SET_ALARM:

		if(last_state != state) {
			displayModeIndicator();
			last_state = state;
		}

		handleIncrementButton();

		if(button_count[12] == 1) {
			setting_param++;

			if(setting_param > PARAM_SEC) {
				state = MODE_DISPLAY_TIME;
				setting_param = PARAM_HOUR;
				lcd_Clear(BLACK);
				last_state = 0xFF;
			}
		}

		displayTime();

		if(isButtonDown()) {
			state = MODE_SET_UART;
			setting_param = PARAM_HOUR;
			lcd_Clear(BLACK);
			last_state = 0xFF;
		}
		break;
	case MODE_SET_UART:
		if(isButtonDown()) {
			state = MODE_DISPLAY_TIME;
			setting_param = PARAM_HOUR;
			lcd_Clear(BLACK);
			last_state = 0xFF;
		}

		if(last_state != state) {
			mode_str = "MODE: UART updating hours";
			uart_Rs232SendString("Type hour value: ");
			last_state = state;
		}
		handleResendRequest();
		displayModeIndicator();
		set_time_Uart();
		displayTime();
		if(isButtonDown()) {
			state = MODE_DISPLAY_TIME;
			setting_param = PARAM_HOUR;
			lcd_Clear(BLACK);
			last_state = 0xFF;
		}
		break;

	}
}
void test_Uart(){
	if(button_count[12] == 1){
		uart_Rs232SendNum(ds3231_hours);
		uart_Rs232SendString(":");
		uart_Rs232SendNum(ds3231_min);
		uart_Rs232SendString(":");
		uart_Rs232SendNum(ds3231_sec);
		uart_Rs232SendString("\n");
	}
}
int get_char_Uart(void) {
	if(bf_head == bf_tail) return -1;
    uint8_t c = buffer[bf_tail];
    bf_tail = (bf_tail + 1) % BUFFER_SIZE;
    return c;
}
void handle_Uart(){
	static uint8_t cmd [32];
	static uint8_t idx = 0;
    int c;
    uint8_t ch;
    if (uart_flag) {
    	while((c = get_char_Uart()) != -1){
    		ch = (uint8_t)c;
			HAL_UART_Transmit(&huart1, &ch, 1, 10);
			if (ch == '\n') {
				cmd[idx] = '\0';
				idx = 0;
//				uart_Rs232SendString((uint8_t*)"\n");
				if (strcmp((char*)cmd, "hour") == 0) {
					uart_Rs232SendString((uint8_t*)"Hour:");
					uart_Rs232SendNum(ds3231_hours);
					uart_Rs232SendString((uint8_t*)"\n");
				} else if (strcmp((char*)cmd, "minute") == 0) {
					uart_Rs232SendString((uint8_t*)"Minute:");
					uart_Rs232SendNum(ds3231_min);
					uart_Rs232SendString((uint8_t*)"\n");
				} else if (strcmp((char*)cmd, "second") == 0) {
					uart_Rs232SendString((uint8_t*)"Second:");
					uart_Rs232SendNum(ds3231_sec);
					uart_Rs232SendString((uint8_t*)"\n");
				} else {
					uart_Rs232SendString((uint8_t*)"Unknown command!!!");
					uart_Rs232SendString((uint8_t*)"\n");
				}
			}
			else if(ch == '\r') {
				continue;
			}
			else if(ch == 0x08 || ch == 0x7F) {
				idx = (idx > 0)? idx - 1 : idx;
			}
			else if (idx < sizeof(cmd) - 1) {
				cmd[idx] = ch;
				idx ++;
			}
    	}
        uart_flag = 0; // reset c�? sau khi xử lý xong
    }
}
void set_time_Uart(){
	static uint8_t cmd [32];
	static uint8_t idx = 0;
    int c;
    int time = 0;
    uint8_t* endptr;
    uint8_t ch;
	switch(setting_param) {
		case PARAM_HOUR:
			mode_str = "MODE: UART updating hours";
			if(request_flag != 0) {
				uart_Rs232SendString("\nType hour value: ");
				request_flag = 0;
				idx = 0;
				cmd[idx] = '\0';
			}
			break;
		case PARAM_MIN:
			mode_str = "MODE: UART updating minute";
			if(request_flag != 0) {
				uart_Rs232SendString("\nType minute value: ");
				request_flag = 0;
				idx = 0;
				cmd[idx] = '\0';
			}
			break;
		case PARAM_SEC:
			mode_str = "MODE: UART updating second";
			if(request_flag != 0) {
				uart_Rs232SendString("\nType second value: ");
				request_flag = 0;
				idx = 0;
				cmd[idx] = '\0';
			}
			break;
		case PARAM_DATE:
			mode_str = "MODE: UART updating date";
			if(request_flag != 0) {
				uart_Rs232SendString("\nType date value: ");
				request_flag = 0;
				idx = 0;
				cmd[idx] = '\0';
			}
			break;
		case PARAM_MONTH:
			mode_str = "MODE: UART updating month";
			if(request_flag != 0) {
				uart_Rs232SendString("\nType month value: ");
				request_flag = 0;
				idx = 0;
				cmd[idx] = '\0';
			}
			break;
		case PARAM_YEAR:
			mode_str = "MODE: UART updating year";
			if(request_flag != 0) {
				uart_Rs232SendString("\nType year value: ");
				request_flag = 0;
				idx = 0;
				cmd[idx] = '\0';
			}
			break;
		case PARAM_DAY:
			mode_str = "MODE: UART updating day";
			if(request_flag != 0) {
				uart_Rs232SendString("\nType day value: ");
				request_flag = 0;
				idx = 0;
				cmd[idx] = '\0';
			}
			break;
	}

    if (uart_flag) {
    	while((c = get_char_Uart()) != -1){
    		ch = (uint8_t)c;
			HAL_UART_Transmit(&huart1, &ch, 1, 10);
			if (ch == '\n') {
				cmd[idx] = '\0';
				idx = 0;
//				uart_Rs232SendString((uint8_t*)"\n");
				time = strtol((char*)cmd, &endptr, 10);
				switch(setting_param) {
					case PARAM_HOUR:
//						mode_str = "MODE: UART updating hours";
						if (*endptr != '\0' || time > 23 || time < 0) {
							// có ký tự không hợp lệ
							uart_Rs232SendString((uint8_t*)"Invalid value!!!");
							uart_Rs232SendString((uint8_t*)"\n");
							uart_Rs232SendString("Type hour value: ");
						}
						else if(cmd[0] == '\0'){
							setting_param ++;
							uart_Rs232SendString("Type minute value: ");
						}
						else{
							uart_Rs232SendString((uint8_t*)"Hour is set to: ");
							uart_Rs232SendNum(time);
							uart_Rs232SendString((uint8_t*)"\n");
							temp_hour = time;
							setting_param ++;
							uart_Rs232SendString("Type minute value: ");
						}
						break;
					case PARAM_MIN:
//						mode_str = "MODE: UART updating minute";
						if(*endptr != '\0' || time > 59 || time < 0){
							uart_Rs232SendString((uint8_t*)"Invalid number!!!");
							uart_Rs232SendString((uint8_t*)"\n");
							uart_Rs232SendString("Type minute value: ");
						}
						else if(cmd[0] == '\0'){
							setting_param ++;
							uart_Rs232SendString("Type second value: ");
						}
						else{
							uart_Rs232SendString((uint8_t*)"Minute is set to: ");
							uart_Rs232SendNum(time);
							uart_Rs232SendString((uint8_t*)"\n");
							temp_min = time;
							setting_param ++;
							uart_Rs232SendString("Type second value: ");
						}
						break;
					case PARAM_SEC:
//						mode_str = "MODE: UART updating second";
						if(*endptr != '\0' || time > 59 || time < 0){
							uart_Rs232SendString((uint8_t*)"Invalid number!!!");
							uart_Rs232SendString((uint8_t*)"\n");
							uart_Rs232SendString("Type second value: ");
						}
						else if(cmd[0] == '\0'){
							setting_param ++;
							uart_Rs232SendString("Type date value: ");
						}
						else{
							uart_Rs232SendString((uint8_t*)"Second is set to: ");
							uart_Rs232SendNum(time);
							uart_Rs232SendString((uint8_t*)"\n");
							temp_sec = time;
							setting_param ++;
							uart_Rs232SendString("Type date value: ");
						}
						break;
					case PARAM_DATE:
//						mode_str = "MODE: UART updating date";
						if(*endptr != '\0' || time > 31 || time < 0){
							uart_Rs232SendString((uint8_t*)"Invalid number!!!");
							uart_Rs232SendString((uint8_t*)"\n");
							uart_Rs232SendString("Type date value: ");
						}
						else if(cmd[0] == '\0'){
							setting_param ++;
							uart_Rs232SendString("Type month value: ");
						}
						else{
							uart_Rs232SendString((uint8_t*)"Date is set to: ");
							uart_Rs232SendNum(time);
							uart_Rs232SendString((uint8_t*)"\n");
							temp_date = time;
							setting_param ++;
							uart_Rs232SendString("Type month value: ");
						}
						break;
					case PARAM_MONTH:
//						mode_str = "MODE: UART updating month";
						if(*endptr != '\0' || time > 12 || time < 0){
							uart_Rs232SendString((uint8_t*)"Invalid number!!!");
							uart_Rs232SendString((uint8_t*)"\n");
							uart_Rs232SendString("Type month value: ");
						}
						else if(cmd[0] == '\0'){
							setting_param ++;
							uart_Rs232SendString("Type year value: ");
						}
						else{
							uart_Rs232SendString((uint8_t*)"Month is set to: ");
							uart_Rs232SendNum(time);
							uart_Rs232SendString((uint8_t*)"\n");
							temp_month = time;
							setting_param ++;
							uart_Rs232SendString("Type year value: ");
						}
						break;
					case PARAM_YEAR:
//						mode_str = "MODE: UART updating year";
						if(*endptr != '\0' || time > 99 || time < 0){
							uart_Rs232SendString((uint8_t*)"Invalid number!!!");
							uart_Rs232SendString((uint8_t*)"\n");
							uart_Rs232SendString("Type year value: ");
						}
						else if(cmd[0] == '\0'){
							setting_param ++;
							uart_Rs232SendString("Type day value: ");
						}
						else{
							uart_Rs232SendString((uint8_t*)"Year is set to :");
							uart_Rs232SendNum(time);
							uart_Rs232SendString((uint8_t*)"\n");
							temp_year = time;
							setting_param ++;
							uart_Rs232SendString("Type day value: ");
						}
						break;
					case PARAM_DAY:
//						mode_str = "MODE: UART updating day";
						if(*endptr != '\0' || time > 7 || time < 0){
							uart_Rs232SendString((uint8_t*)"Invalid number!!!");
							uart_Rs232SendString((uint8_t*)"\n");
							uart_Rs232SendString("Type day value: ");
						}
						else if(cmd[0] == '\0'){
							ds3231_Write(ADDRESS_HOUR, temp_hour);
							ds3231_Write(ADDRESS_MIN, temp_min);
							ds3231_Write(ADDRESS_SEC, temp_sec);
							ds3231_Write(ADDRESS_DATE, temp_date);
							ds3231_Write(ADDRESS_MONTH, temp_month);
							ds3231_Write(ADDRESS_YEAR, temp_year);
							ds3231_Write(ADDRESS_DAY, temp_day);

							state = MODE_DISPLAY_TIME;
							setting_param = PARAM_HOUR;
							lcd_Clear(BLACK);
							uart_Rs232SendString("Finish setting !");
						}
						else{
							uart_Rs232SendString((uint8_t*)"Day is set to: ");
							uart_Rs232SendNum(time);
							uart_Rs232SendString((uint8_t*)"\n");
							temp_day = time;
							ds3231_Write(ADDRESS_HOUR, temp_hour);
							ds3231_Write(ADDRESS_MIN, temp_min);
							ds3231_Write(ADDRESS_SEC, temp_sec);
							ds3231_Write(ADDRESS_DATE, temp_date);
							ds3231_Write(ADDRESS_MONTH, temp_month);
							ds3231_Write(ADDRESS_YEAR, temp_year);
							ds3231_Write(ADDRESS_DAY, temp_day);

							state = MODE_DISPLAY_TIME;
							setting_param = PARAM_HOUR;
							lcd_Clear(BLACK);
							uart_Rs232SendString("Finish setting !");
						}
						break;
				}
			}
			else if(ch == '\r') {
				continue;
			}
			else if(ch == 0x08 || ch == 0x7F) {
				idx = (idx > 0)? idx - 1 : idx;
			}
			else if (idx < sizeof(cmd) - 1) {
				time = strtol((char*)cmd, &endptr, 10);
				if (*endptr != '\0') {
				    // có ký tự không hợp lệ
				}
				cmd[idx] = ch;
				idx ++;
			}
    	}
    	request_counter = 0;
    	request_flag = 0;
    	request_duration = 0;
        uart_flag = 0; // reset c�? sau khi xử lý xong
    }

}
uint8_t count_adc = 0;

// Calculate power consumption in mW
float getPowerConsumption() {
	return sensor_GetVoltage() * sensor_GetCurrent();
}

// Get humidity from potentiometer (0-100%)
float getHumidity() {
	uint16_t pot_value = sensor_GetPotentiometer();
	// Map ADC value (0-4095) to humidity (0-100%)
	return (pot_value * 100.0f) / 4095.0f;
}

// Classify light level
const char* getLightLevel() {
	uint16_t light = sensor_GetLight();
	// Threshold at 2000 (adjustable based on sensor)
	if (light > 2000) {
		return "Strong";
	} else {
		return "Weak";
	}
}

void test_Adc(){
	count_adc = (count_adc + 1)%20;
	if(count_adc == 0){
		sensor_Read();

		// Display environmental monitoring data
		float power = getPowerConsumption();
		float humidity = getHumidity();
		const char* light_level = getLightLevel();
		float temperature = sensor_GetTemperature();

		// Display on LCD
		lcd_ShowStr(10, 40, "Power:", RED, BLACK, 16, 0);
		lcd_ShowFloatNum(100, 40, power, 4, RED, BLACK, 16);
		lcd_ShowStr(180, 40, "mW", RED, BLACK, 16, 0);

		lcd_ShowStr(10, 60, "Light:", RED, BLACK, 16, 0);
		lcd_ShowStr(100, 60, "      ", BLACK, BLACK, 16, 0);
		lcd_ShowStr(100, 60, (uint8_t*)light_level, RED, BLACK, 16, 0);

		lcd_ShowStr(10, 80, "Temp:", RED, BLACK, 16, 0);
		lcd_ShowFloatNum(100, 80, temperature, 4, RED, BLACK, 16);
		lcd_ShowStr(180, 80, "C", RED, BLACK, 16, 0);

		lcd_ShowStr(10, 100, "Humidity:", RED, BLACK, 16, 0);
		lcd_ShowFloatNum(120, 100, humidity, 4, RED, BLACK, 16);
		lcd_ShowStr(180, 100, "%", RED, BLACK, 16, 0);

		// Check alarm condition
		if (humidity > 70.0f) {
			lcd_ShowStr(10, 120, "ALARM: High Humidity!", RED, BLACK, 16, 0);
		} else {
			lcd_ShowStr(10, 120, "                      ", BLACK, BLACK, 16, 0);
		}
	}
}
void tempProcess() {
    count_adc = (count_adc + 1) % 600;

    if (count_adc == 0) {

        // 1. Đọc cảm biến
        sensor_Read();

        // 2. Lấy giá trị nhiệt độ
        float temperature = sensor_GetTemperature();

        // 3. Hiển thị lên LCD
        lcd_ShowStr(10, 80, "Temp:", RED, BLACK, 16, 0);
        lcd_ShowFloatNum(100, 80, temperature, 4, RED, BLACK, 16);
        lcd_ShowStr(180, 80, "C", RED, BLACK, 16, 0);

        // 4. Tạo chuỗi gửi sang ESP
        char buffer[32];
        sprintf(buffer, "!TEMP:%.2f#", temperature);

        // 5. Gửi sang ESP bằng hàm của bạn
        uart_EspSendBytes((uint8_t*)buffer, strlen(buffer));
    }
}

/* USER CODE END 4 */

void Error_Handler(void)
{
  __disable_irq();
  while (1)
  {
  }
}

/************************ (C) COPYRIGHT STMicroelectronics *****END OF FILE****/
